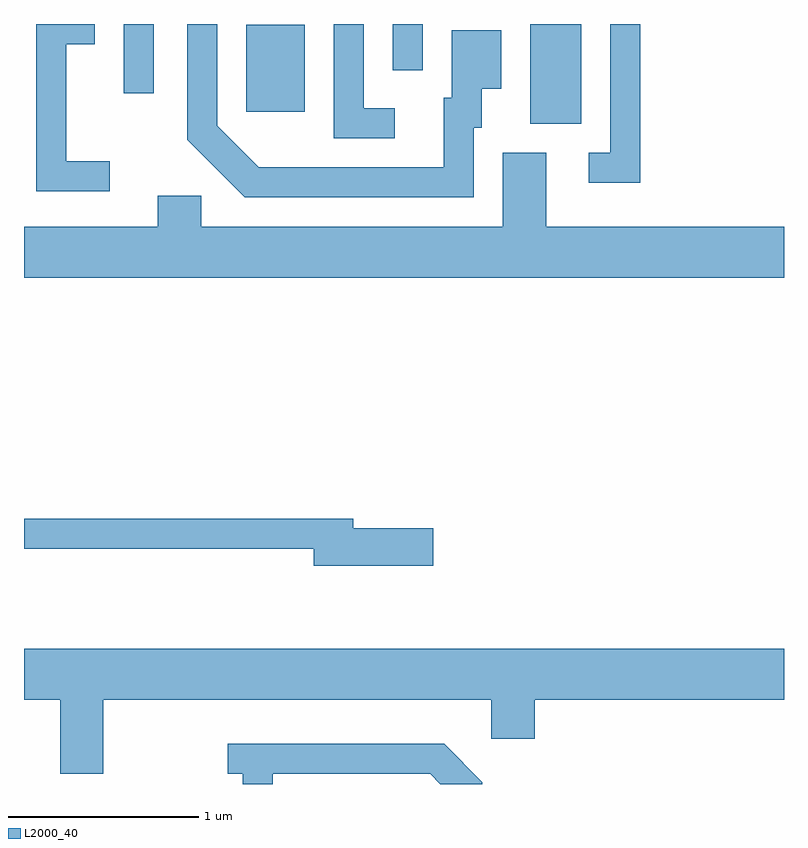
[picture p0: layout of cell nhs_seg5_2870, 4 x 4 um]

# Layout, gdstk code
import gdstk
lib = gdstk.Library(unit=1e-6, precision=1e-09)
def R(c, l, rs):  # rectangles x0, y0, x1, y1
    for r in rs: c.add(gdstk.rectangle(r[:2], r[2:], *l))
def P(c, l, *ps):  # polygons
    for p in ps: c.add(gdstk.Polygon(p, *l))
L2000_40 = (2000, 40)

nhs_seg5_2870 = lib.new_cell('nhs_seg5_2870')
R(nhs_seg5_2870, L2000_40, [(272.276,1517.546,272.544,1518.072), (270.781,1517.611,271.089,1518.069), (270.136,1517.708,270.294,1518.072), (271.551,1517.828,271.709,1518.072)])
P(nhs_seg5_2870, L2000_40, [(271.979,1517.526),(272.019,1517.526),(272.019,1517.731),(272.124,1517.731),(272.124,1518.039),(271.861,1518.039),(271.861,1517.684),(271.821,1517.684),(271.821,1517.319),(270.847,1517.319),(270.629,1517.537),(270.629,1518.072),(270.471,1518.072),(270.471,1517.464),(270.774,1517.161),(271.979,1517.161)],
  [(272.854,1518.072),(272.696,1518.072),(272.696,1517.394),(272.583,1517.394),(272.583,1517.236),(272.854,1517.236)],
  [(270.063,1517.349),(269.834,1517.349),(269.834,1517.966),(269.984,1517.966),(269.984,1518.072),(269.676,1518.072),(269.676,1517.191),(270.063,1517.191)],
  [(271.563,1517.629),(271.399,1517.629),(271.399,1518.072),(271.241,1518.072),(271.241,1517.471),(271.563,1517.471)],
  [(273.611,1517.004),(272.359,1517.004),(272.359,1517.394),(272.131,1517.394),(272.131,1517.004),(270.544,1517.004),(270.544,1517.169),(270.316,1517.169),(270.316,1517.004),(269.611,1517.004),(269.611,1516.736),(273.611,1516.736)],
  [(271.764,1515.419),(271.344,1515.419),(271.344,1515.469),(269.611,1515.469),(269.611,1515.311),(271.136,1515.311),(271.136,1515.221),(271.764,1515.221)],
  [(270.029,1514.516),(272.071,1514.516),(272.071,1514.311),(272.299,1514.311),(272.299,1514.516),(273.611,1514.516),(273.611,1514.784),(269.611,1514.784),(269.611,1514.516),(269.801,1514.516),(269.801,1514.126),(270.029,1514.126)],
  [(270.919,1514.126),(271.749,1514.126),(271.803,1514.072),(272.024,1514.072),(272.024,1514.082),(271.822,1514.284),(270.683,1514.284),(270.683,1514.126),(270.761,1514.126),(270.761,1514.072),(270.919,1514.072)])

lib.write_gds('nhs_seg5_2870.gds')
